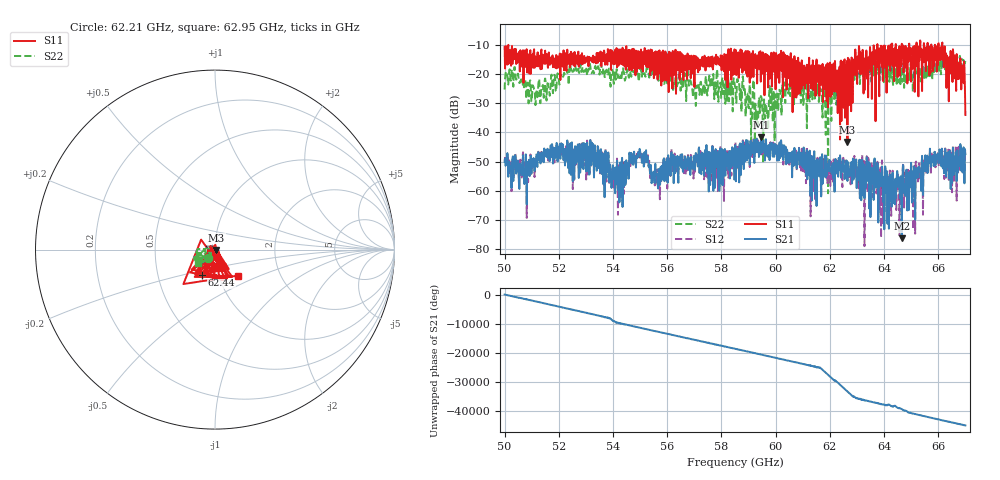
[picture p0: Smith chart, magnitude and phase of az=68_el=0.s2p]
!Created with skrf (http://scikit-rf.org).
# GHz S RI R 50.0
!freq ReS11 ImS11 ReS21 ImS21 ReS12 ImS12 ReS22 ImS22
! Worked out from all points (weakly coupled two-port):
!   1001 points, 50 GHz to 67 GHz, reference 50 ohm
!   highest |S21| = -41.74 dB at 59.47 GHz (marker M1); lowest = -76.3 dB at 64.65 GHz (marker M2)
!   lowest |S11| = -43.3 dB at 62.65 GHz (marker M3), VSWR 1.01, Z = 50.7 - j0.19 ohm
!   |S11| at or under -10 dB: start of sweep to 63.75 GHz; 63.75 GHz to 64.25 GHz (492.3 MHz wide, 0.769 % of centre); 66.15 GHz to end of sweep (the widest 3 of 14)
!   |S22| runs from -60.9 to -13.8 dB; largest |S21 - S12| = 0.0022
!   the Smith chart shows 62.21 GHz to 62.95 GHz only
!   S11 on the Smith chart (normalised r, x): 62.21 GHz: 1.07, -0.20; 62.44 GHz: 0.83, -0.24; 62.95 GHz: 1.23, -0.37
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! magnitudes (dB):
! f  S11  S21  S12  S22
! 50 GHz  -10.7  -50.2  -49.7  -25.4
! 50.8 GHz  -11.9  -50.4  -51.4  -28.5
! 51.16 GHz  -15.1  -50.1  -49.8  -28.0
! 52.84 GHz  -15.0  -52.0  -49.9  -19.4
! 54.27 GHz  -11.7  -50.3  -51.5  -21.3
! 54.96 GHz  -18.1  -47.9  -47.9  -21.5
! 55.68 GHz  -14.2  -52.6  -56.3  -22.4
! 56.19 GHz  -25.0  -51.1  -53.2  -21.3
! 58.5 GHz  -20.1  -44.7  -44.6  -24.4
! 59.47 GHz  -13.6  -41.7  -42.0  -27.8
! 60.64 GHz  -15.0  -49.0  -47.4  -22.1
! 61.34 GHz  -23.4  -63.3  -60.5  -25.8
! 61.88 GHz  -29.4  -51.9  -51.0  -23.0
! 62.21 GHz  -19.8  -49.2  -49.2  -24.4
! 62.44 GHz  -15.8  -51.3  -52.1  -24.4
! 62.65 GHz  -43.3  -56.6  -55.1  -23.2
! 62.95 GHz  -14.3  -52.0  -51.0  -18.5
! 64.18 GHz  -17.0  -73.0  -63.0  -18.7
! 64.65 GHz  -9.7  -76.3  -64.0  -21.4
! 66.08 GHz  -15.3  -46.3  -46.8  -15.5
! 66.88 GHz  -22.5  -46.1  -48.3  -15.0
! 67 GHz  -34.1  -47.5  -46.2  -15.6
